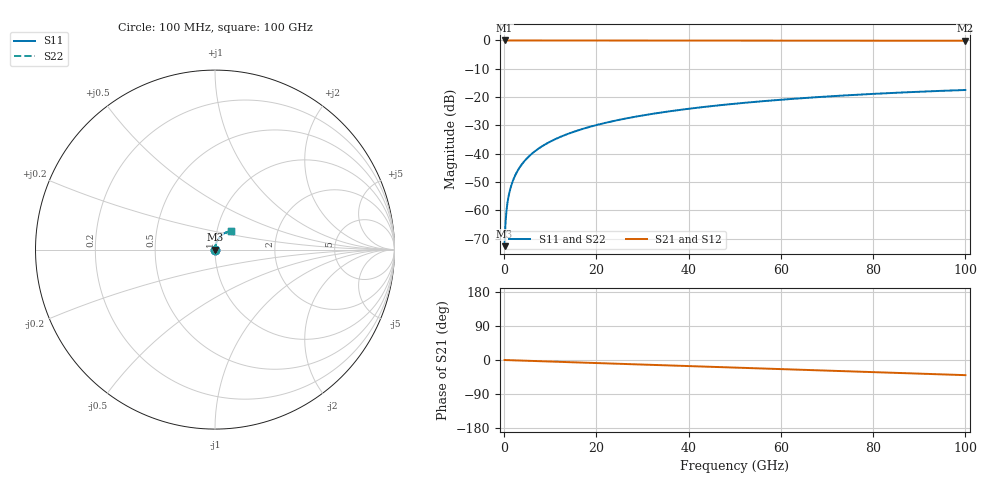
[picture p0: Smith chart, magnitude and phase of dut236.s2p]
! Touchstone file exported from HFSS 2026.1.0
!  File:  C:/ffzhzh/LocalFiles/Ansys_Project_Files/temp_train_TSV_236_1783508089_55944.aedt
!  Generated:  06:56:00 PM Jul  8, 2026
!  Design:  TSV
!  Project:  temp_train_TSV_236_1783508089_55944
! Variables:
!  h_bsmrdl = 2um
!  h_ox = 20um
!  h_rdl = 5um
!  h_sub = 75.18um
!  h_tmrdl = 5um
!  h_tsv = 75.18um
!  h_via = 3um
!  l_bsmrdl = 300um
!  l_sub = 419.62um
!  l_tmrdl = 200um
!  m_sub = 200um
!  pitch = 52.02um
!  r_tsv = 9.81um
!  s_tmrdl = 10um
!  w_bsmrdl = 18um
!  w_sub = 500um
!  w_tmrdl = 12um
!  x_tsv_center1 = 206um
!  x_tsv_center2 = 524um
!  x_tsv_center3 = 736um
!  x_tsv_center4 = 1054um
!  x_tsv_center5 = 1266um
!  x_tsv_center6 = 1584um
# GHz S MA R 50.000000
! Terminal data exported
! Port[1] = TSV1_1_T1
! Port[2] = TSV1_1_T2
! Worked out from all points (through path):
!   1000 points, 100 MHz to 100 GHz, reference 50 ohm
!   highest |S21| = 0.00 dB at 100 MHz (marker M1); lowest = -0.1 dB at 100 GHz (marker M2)
!   group delay of S21, straight-line fit = 1.11 ps
!   lowest |S11| = -72.6 dB at 100 MHz (marker M3), VSWR 1.00, Z = 50 + j0.02 ohm
!   |S11| at or under -10 dB: start of sweep to end of sweep
!   |S22| runs from -72.6 to -17.5 dB; largest |S21 - S12| = 3.5e-15
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0.1  0.0002347 58.4  0.9999 -0.0  0.9999 -0.0  0.0002347 58.4
! Gamma 0 0 0 0
! Port Impedance 50 0 50 0
0.3  0.0006079 75.6  0.9998 -0.1  0.9998 -0.1  0.0006079 75.6
0.7  0.001327 80.0  0.9998 -0.3  0.9998 -0.3  0.001327 80.0
0.8  0.0015 80.5  0.9998 -0.3  0.9998 -0.3  0.0015 80.5
1  0.001841 81.2  0.9997 -0.4  0.9997 -0.4  0.001841 81.2
1.3  0.002347 82.0  0.9997 -0.5  0.9997 -0.5  0.002347 82.0
1.7  0.003017 82.7  0.9996 -0.7  0.9996 -0.7  0.003017 82.7
2.3  0.004014 83.3  0.9996 -0.9  0.9996 -0.9  0.004014 83.3
3  0.005165 83.6  0.9995 -1.2  0.9995 -1.2  0.005165 83.6
3.8  0.006469 83.8  0.9995 -1.6  0.9995 -1.6  0.006469 83.8
4.8  0.008088 83.9  0.9994 -2.0  0.9994 -2.0  0.008088 83.9
6  0.01002 83.8  0.9993 -2.4  0.9993 -2.4  0.01002 83.8
8.8  0.01451 83.3  0.9991 -3.6  0.9991 -3.6  0.01451 83.3
12.4  0.02023 82.3  0.9988 -5.0  0.9988 -5.0  0.02023 82.3
16.8  0.02715 80.9  0.9985 -6.8  0.9985 -6.8  0.02715 80.9
24.2  0.03864 78.3  0.9979 -9.8  0.9979 -9.8  0.03864 78.3
33.4  0.05259 74.9  0.997 -13.4  0.997 -13.4  0.05259 74.9
41.2  0.06406 71.9  0.9962 -16.6  0.9962 -16.6  0.06406 71.9
50.1  0.07666 68.5  0.9951 -20.1  0.9951 -20.1  0.07666 68.5
66.7  0.0985 62.1  0.9929 -26.7  0.9929 -26.7  0.0985 62.1
83.4  0.1178 55.6  0.9905 -33.4  0.9905 -33.4  0.1178 55.6
100  0.1337 49.1  0.9882 -40.0  0.9882 -40.0  0.1337 49.1
